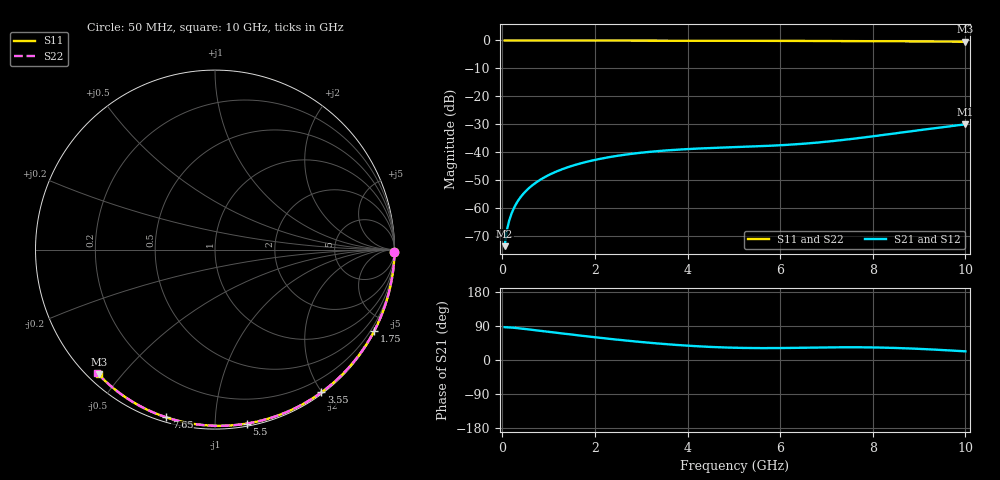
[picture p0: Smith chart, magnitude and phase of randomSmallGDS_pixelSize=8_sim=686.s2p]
! freq	dB(S11)	phase(S11)	dB(S12)	phase(S12)
!  dB(S21)	phase(S21)	dB(S22)	phase(S22)
!S-par simulation data
#  GHz  S  DB  R 50
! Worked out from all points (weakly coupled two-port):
!   200 points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, 50 MHz to 10 GHz, reference 50 ohm
!   highest |S21| = -29.99 dB at 10 GHz (marker M1); lowest = -73.5 dB at 50 MHz (marker M2)
!   lowest |S11| = -0.4 dB at 10 GHz (marker M3), VSWR 39.52, Z = 1.5 - j21.7 ohm
!   |S11| at or under -10 dB: nowhere
!   |S22| runs from -0.4 to 0.0 dB; largest |S21 - S12| = 0
!   S11 on the Smith chart (normalised r, x): 50 MHz: open; 1.75 GHz: 0.04, -4.18; 3.55 GHz: 0.02, -1.99; 5.5 GHz: 0.02, -1.20; 7.65 GHz: 0.02, -0.75; 10 GHz: 0.03, -0.43
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0.05  -0.00 -0.8  -73.54 86.6  -73.54 86.6  -0.00 -0.8
0.1  -0.00 -1.6  -67.77 86.3  -67.77 86.3  -0.00 -1.6
0.15  -0.00 -2.3  -64.33 86.0  -64.33 86.0  -0.00 -2.4
0.2  -0.00 -3.1  -61.87 85.6  -61.87 85.6  -0.00 -3.1
0.25  -0.00 -3.9  -59.96 85.1  -59.96 85.1  -0.00 -3.9
0.35  -0.00 -5.5  -57.06 83.8  -57.06 83.8  -0.00 -5.5
0.5  -0.01 -7.8  -54.00 81.7  -54.00 81.7  -0.01 -7.8
0.7  -0.01 -10.9  -51.13 78.8  -51.13 78.8  -0.01 -11.0
1  -0.02 -15.5  -48.13 74.4  -48.13 74.4  -0.02 -15.6
1.35  -0.03 -20.9  -45.69 69.2  -45.69 69.2  -0.03 -21.0
1.75  -0.03 -26.9  -43.68 63.5  -43.68 63.5  -0.03 -27.1
2.5  -0.05 -38.1  -41.20 53.4  -41.20 53.4  -0.05 -38.3
3.4  -0.07 -51.2  -39.50 43.2  -39.50 43.2  -0.07 -51.4
3.55  -0.07 -53.3  -39.31 41.7  -39.31 41.7  -0.07 -53.5
4.3  -0.09 -63.7  -38.59 35.7  -38.59 35.7  -0.09 -64.0
5.05  -0.11 -73.8  -38.12 32.2  -38.12 32.2  -0.11 -74.1
5.5  -0.13 -79.7  -37.85 31.4  -37.85 31.4  -0.13 -80.1
6.7  -0.18 -94.8  -36.66 32.7  -36.66 32.7  -0.18 -95.2
7.65  -0.24 -106.2  -35.00 33.6  -35.00 33.6  -0.24 -106.7
8.35  -0.29 -114.3  -33.51 32.3  -33.51 32.3  -0.29 -114.8
9.2  -0.36 -124.0  -31.66 28.3  -31.66 28.3  -0.36 -124.5
10  -0.44 -133.0  -29.99 22.9  -29.99 22.9  -0.44 -133.5
